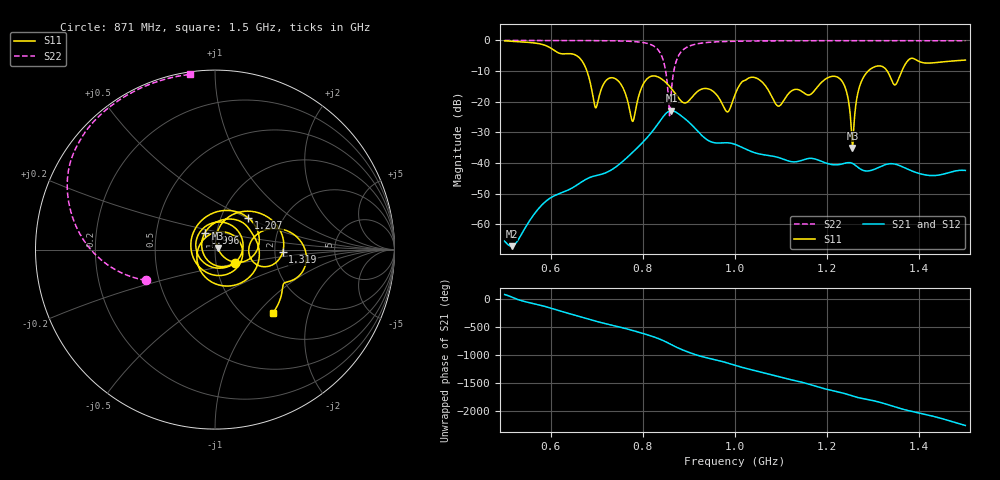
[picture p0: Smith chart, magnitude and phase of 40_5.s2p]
! TOUCHSTONE file generated by CST MICROWAVE STUDIO
! Date and time: Mon Nov 30 08:08:46 2020
! Project name: Scenario_1_Planar_Body_Tissue_Out_of_Line.cst
! Parameters = {dy1=328.7; L_HA=400; Ltissue=700; MT=2.54; Rad_Dielectric=30; Rad_Lower=7.3; Rad_Upper=30; Wtissue=700; a_HA=580; a_WG=246; b_HA=500; b_WG=121; c_HA=0; c_WG=187; d_feed=85; dx1=866; h_feed=15; h_lower=18; h_upper=40; hfat=3; hgap=25; hmuscle=50; hskin=1.5}
! Header version: 2018
! Port assignment regex: !\s*Touchstone port\s*([0-9]+)\s*=\s*(CST MWS port|CST DS port)\s*([0-9]+|Zmin|Zmax)\s*\(\"(.*)\"\)(\s*mode\s*([0-9]+))?.*
! Touchstone port assignment:
! Touchstone port 1 = CST MWS port 1 ("")
! Touchstone port 2 = CST MWS port 2 ("")
# GHz S DB R 50
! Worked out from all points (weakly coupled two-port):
!   1003 points, 500 MHz to 1.5 GHz, reference 50 ohm
!   highest |S21| = -22.91 dB at 862 MHz (marker M1); lowest = -67.1 dB at 515 MHz (marker M2)
!   lowest |S11| = -35.0 dB at 1.255 GHz (marker M3), VSWR 1.04, Z = 51.7 + j0.642 ohm
!   |S11| at or under -10 dB: 678.7 MHz to 1.289 GHz (610.1 MHz wide, 62 % of centre); 1.33 GHz to 1.362 GHz (31.43 MHz wide, 2.33 % of centre)
!   |S22| runs from -24.5 to 0.0 dB; largest |S21 - S12| = 1.9e-05
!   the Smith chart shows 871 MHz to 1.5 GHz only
!   S11 on the Smith chart (normalised r, x): 871 MHz: 1.24, -0.19; 996 MHz: 0.88, +0.16; 1.207 GHz: 1.34, +0.51; 1.319 GHz: 2.21, -0.07; 1.5 GHz: 1.33, -1.21
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0.5  -0.13 -122.1  -65.44 76.8  -65.44 76.8  -0.01 151.2
0.515  -0.26 -128.3  -67.09 33.4  -67.09 33.1  -0.01 150.2
0.585  -1.44 -168.5  -53.05 -129.2  -53.06 -129.2  -0.02 145.3
0.667  -6.48 125.6  -46.16 37.3  -46.16 37.3  -0.04 138.4
0.697  -21.90 134.4  -44.13 -35.2  -44.13 -35.2  -0.06 135.2
0.738  -12.32 139.7  -41.62 -118.6  -41.62 -118.6  -0.13 129.6
0.778  -26.40 140.7  -36.47 156.9  -36.47 156.9  -0.33 121.0
0.834  -11.97 76.1  -26.95 12.4  -26.96 12.4  -3.23 84.2
0.862  -15.69 -2.4  -22.91 -96.6  -22.91 -96.6  -16.36 -123.4
0.871  -17.45 -33.5  -23.32 -133.7  -23.32 -133.7  -7.51 -156.0
0.903  -19.15 166.2  -27.08 118.5  -27.08 118.5  -1.71 166.4
0.996  -19.35 122.0  -33.69 -92.5  -33.69 -92.5  -0.28 140.9
1  -17.70 103.3  -33.89 -102.5  -33.89 -102.5  -0.27 140.3
1.057  -13.31 -70.0  -37.15 133.8  -37.15 133.8  -0.16 133.7
1.167  -17.26 169.3  -38.47 -96.6  -38.47 -96.6  -0.10 124.2
1.207  -11.84 44.0  -40.38 174.7  -40.38 174.7  -0.09 121.2
1.237  -14.58 -19.0  -40.11 116.1  -40.11 116.1  -0.09 118.9
1.255  -35.04 20.5  -40.10 70.4  -40.10 70.4  -0.09 117.5
1.277  -12.51 59.4  -42.31 25.4  -42.31 25.4  -0.08 115.9
1.319  -8.46 -2.1  -40.92 -52.0  -40.92 -52.0  -0.08 112.7
1.334  -10.94 -19.6  -40.24 -89.6  -40.24 -89.6  -0.09 111.6
1.5  -6.41 -47.4  -42.39 -93.9  -42.39 -93.9  -0.13 98.0
